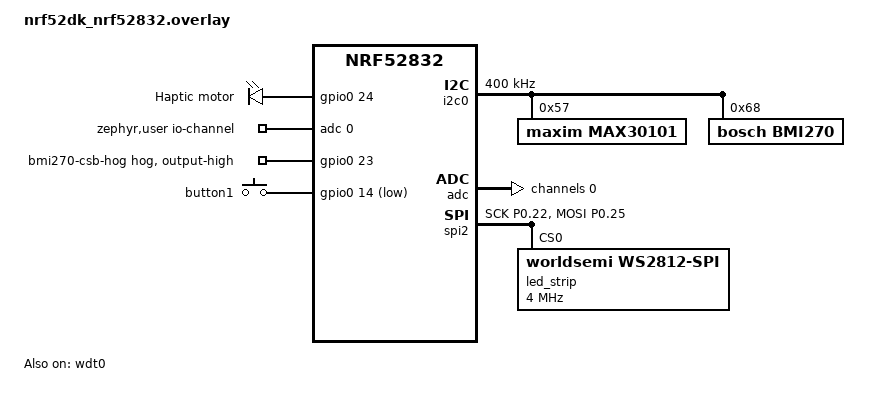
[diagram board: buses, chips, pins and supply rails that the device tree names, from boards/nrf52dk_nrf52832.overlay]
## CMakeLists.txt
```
cmake_minimum_required(VERSION 3.20.0)

find_package(Zephyr REQUIRED HINTS $ENV{ZEPHYR_BASE})
project(smart_hydration_band)

target_include_directories(app PRIVATE
  include
  # Bosch's BMI270 firmware blob, used by src/step_counter.c.
  ${ZEPHYR_BASE}/drivers/sensor/bosch/bmi270
)

target_sources(app PRIVATE
  src/main.c
  src/max30101.c
  src/heart_rate.c
  src/step_counter.c
  src/status_led.c
  src/button.c
  src/haptic.c
  src/band_mode.c
  src/ble_service.c
  src/battery.c
  src/watchdog.c
  src/storage.c
  src/wall_clock.c
  src/data_log.c
  src/spo2.c
)
```

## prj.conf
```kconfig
# Sensors
CONFIG_I2C=y
CONFIG_GPIO=y
CONFIG_SENSOR=y
CONFIG_MAX30101=y
# MAX30101 sensor settings (mode, LEDs, rate) are in the devicetree overlay.
# src/step_counter.c drives the BMI270 directly; see the comment there for why
# Zephyr's driver cannot be used on the nRF52832.
CONFIG_BMI270=n

# Status LED: WS2812 through Zephyr's SPI driver (see the overlay).
CONFIG_LED_STRIP=y

# BLE link to the app: one connection, no pairing. The name must start with
# "umbra" (any case) for the app to find the band.
CONFIG_BT=y
CONFIG_BT_PERIPHERAL=y
CONFIG_BT_DEVICE_NAME="Umbra"
CONFIG_BT_MAX_CONN=1
CONFIG_BT_HRS=y
CONFIG_BT_BAS=y
# Firmware version: the one place it is set. Shown over RTT at start-up and in
# the Device Information Service (Firmware Revision String, 0x2A26). Raise it
# for every build that leaves the bench.
CONFIG_BT_DIS=y
CONFIG_BT_DIS_FW_REV=y
CONFIG_BT_DIS_FW_REV_STR="1.2.0"
# What a phone's Bluetooth settings or a BLE scanner shows for the band, instead
# of Zephyr's placeholders ("Manufacturer", the SoC name).
CONFIG_BT_DIS_MANUF_NAME_STR="Umbra"
CONFIG_BT_DIS_MODEL_NUMBER_STR="Umbra Band"
# No PnP ID: the default reports vendor ID 0, which is not a real vendor.
CONFIG_BT_DIS_PNP=n
# For the current app's JSON link; remove once it uses the services above.
CONFIG_BT_NUS=y
# Ask the phone for a 200-400 ms connection interval (1.25 ms units), and a 4 s
# timeout (10 ms units), since data goes at most once a second. It may refuse.
CONFIG_BT_PERIPHERAL_PREF_MIN_INT=160
CONFIG_BT_PERIPHERAL_PREF_MAX_INT=320
CONFIG_BT_PERIPHERAL_PREF_LATENCY=0
CONFIG_BT_PERIPHERAL_PREF_TIMEOUT=400
# Up to a 247-byte MTU and 251-byte packets, so a log transfer sends 12 records
# per notification instead of one (an iPhone negotiates 185 or more).
CONFIG_BT_L2CAP_TX_MTU=247
CONFIG_BT_BUF_ACL_RX_SIZE=251
CONFIG_BT_BUF_ACL_TX_SIZE=251
CONFIG_BT_CTLR_DATA_LENGTH_MAX=251

# Battery voltage on P0.28, and system off on a flat battery.
CONFIG_ADC=y
CONFIG_POWEROFF=y

# Flash storage for values the app sets (src/storage.c): Zephyr settings on
# NVS, in the settings_storage partition the Partition Manager adds.
CONFIG_FLASH=y
CONFIG_FLASH_MAP=y
CONFIG_NVS=y
CONFIG_SETTINGS=y
# 48 KB (twelve 4 KB sectors) instead of 8 KB: the data log (src/data_log.c)
# keeps 1024 records of 20 bytes (28 with NVS's header, ~29 KB) in the same
# NVS, and NVS needs free sectors to reclaim space. The app area shrinks to
# match (~460 KB left).
CONFIG_PM_PARTITION_SIZE_SETTINGS_STORAGE=0xC000
CONFIG_SETTINGS_NVS_SECTOR_COUNT=12
# Index of the newest entry per ID, so reading a log record does not walk the
# whole partition (4 bytes of RAM each).
CONFIG_NVS_LOOKUP_CACHE=y
CONFIG_NVS_LOOKUP_CACHE_SIZE=1024

# Hardware watchdog (src/watchdog.c) and the reset reason printed at start-up.
CONFIG_WATCHDOG=y
CONFIG_HWINFO=y

# The Bluetooth host runs on the system work queue.
CONFIG_SYSTEM_WORKQUEUE_STACK_SIZE=2048

# Logging over Segger RTT
CONFIG_LOG=y
CONFIG_LOG_DEFAULT_LEVEL=3
CONFIG_LOG_BACKEND_RTT=y
CONFIG_USE_SEGGER_RTT=y
CONFIG_RTT_CONSOLE=y
CONFIG_UART_CONSOLE=n
# 4 KB instead of 1 KB: the boot output (Bluetooth start-up, firmware version,
# reset reason, mode) overflowed 1 KB before the viewer read it, and was lost.
CONFIG_SEGGER_RTT_BUFFER_SIZE_UP=4096
# No ANSI colours: a dropped log line left fragments like "0m [0m" in the output.
CONFIG_LOG_BACKEND_SHOW_COLOR=n
# The board's UART is not wired up here and output goes over RTT.
CONFIG_SERIAL=n

# The BMD-350 module has no 32.768 kHz crystal.
CONFIG_CLOCK_CONTROL_NRF_K32SRC_RC=y
CONFIG_CLOCK_CONTROL_NRF_K32SRC_500PPM=y

# Hardware floating point for the heart-rate autocorrelation (~25k MACs/s).
CONFIG_FPU=y
# Preserve the estimator's float registers across the radio's and other threads' work.
CONFIG_FPU_SHARING=y

CONFIG_MAIN_STACK_SIZE=4096
```

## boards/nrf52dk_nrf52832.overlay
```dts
/*
 * Smart Hydration Band - MAX30101 and BMI270 overlay.
 *
 * The PCB uses a BMD-350-A-R (nRF52832) module. The nRF52 DK board target is
 * used only as a convenient nRF52832 base; I2C0 already defaults to the PCB's
 * SDA P0.26 / SCL P0.27 pins.
 */

#include <zephyr/dt-bindings/adc/adc.h>
#include <zephyr/dt-bindings/gpio/gpio.h>
#include <zephyr/dt-bindings/led/led.h>

/*
 * BMI270 CSB (P0.23) has no pull-up on the PCB and the chip uses it to choose
 * between I2C and SPI. Hold it high from before the application starts.
 */
&gpio0 {
	bmi270-csb-hog {
		gpio-hog;
		gpios = <23 GPIO_ACTIVE_HIGH>;
		output-high;
	};
};

&i2c0 {
	compatible = "nordic,nrf-twim";
	status = "okay";
	/*
	 * Fast mode: both sensors support 400 kHz and the PCB has 4.7k pull-ups.
	 * A quarter of the bus time per transfer, so the TWIM and the high-
	 * frequency clock run for less of each FIFO drain.
	 */
	clock-frequency = <400000>;

	/*
	 * src/max30101.c checks the mode, slots, rate, averaging and pulse width
	 * at build time because the heart-rate timing depends on them.
	 */
	max30101: max30101@57 {
		compatible = "maxim,max30101";
		reg = <0x57>;
		status = "okay";
		/*
		 * Slot 1 red, slot 2 IR. IR carries the wrist pulse and runs all the
		 * time; red is for SpO2 and starts off (current 0), lit only during a
		 * measurement. Green cannot work from the 3.3 V LED supply.
		 */
		acq-mode = "multi-led";
		led-slot = <1 2 0 0>;
		/* [red IR green], 0.2 mA/LSB: red off, IR ~38 mA. */
		led-pa = [00 C0 00];
		/* 100 Hz, no on-chip averaging. */
		smp-sr = <100>;
		smp-ave = <1>;
		/* 411 us pulse = 18-bit samples; the driver default is 69 us / 15-bit. */
		led-pw = <411>;
		/* 62.5 pA/LSB, so double the IR light stays in range. */
		adc-rge = <16384>;
	};

	/* SDO is tied to GND. INT1/INT2 (P0.30/P0.31) are not used: steps are polled. */
	bmi270: bmi270@68 {
		compatible = "bosch,bmi270";
		reg = <0x68>;
		status = "okay";
	};
};

/*
 * Haptic motor: P0.24 drives the gate of low-side switch Q1 through R12. R13
 * holds the gate low until the pin is configured. "gpio-leds" is only a plain
 * output description here; no LED driver is enabled.
 */
/ {
	haptic {
		compatible = "gpio-leds";

		haptic_motor: haptic_motor {
			gpios = <&gpio0 24 GPIO_ACTIVE_HIGH>;
			label = "Haptic motor";
		};
	};
};

/*
 * Battery voltage: V_bat through R10 (800k) and R11 (2M) into P0.28 / AIN4. The
 * long acquisition time suits the divider's high impedance.
 */
/ {
	zephyr,user {
		io-channels = <&adc 0>;
	};
};

&adc {
	#address-cells = <1>;
	#size-cells = <0>;
	status = "okay";

	channel@0 {
		reg = <0>;
		zephyr,gain = "ADC_GAIN_1_6";
		zephyr,reference = "ADC_REF_INTERNAL";
		zephyr,acquisition-time = <ADC_ACQ_TIME(ADC_ACQ_TIME_MICROSECONDS, 40)>;
		zephyr,input-positive = <NRF_SAADC_AIN4>;
		zephyr,resolution = <12>;
		zephyr,oversampling = <4>;
	};
};

/* Push button SW2: P0.14 to GND, no pull-up on the PCB. */
&button1 {
	gpios = <&gpio0 14 (GPIO_PULL_UP | GPIO_ACTIVE_LOW)>;
};

/*
 * WS2812 D4, data on P0.25. SPI is used only to shape the data pulses. The DK's
 * default pins would claim P0.23 (BMI270 CSB) and P0.24 (motor), so these are
 * set here. MOSI is the data line. SCK is on P0.22, unconnected on this PCB: the
 * SPIM stalls without a clock pin, so it needs one even though nothing uses it.
 */
&pinctrl {
	led_spi_default: led_spi_default {
		group1 {
			psels = <NRF_PSEL(SPIM_SCK, 0, 22)>,
				<NRF_PSEL(SPIM_MOSI, 0, 25)>;
		};
	};

	led_spi_sleep: led_spi_sleep {
		group1 {
			psels = <NRF_PSEL(SPIM_SCK, 0, 22)>,
				<NRF_PSEL(SPIM_MOSI, 0, 25)>;
			low-power-enable;
		};
	};
};

&spi2 {
	compatible = "nordic,nrf-spim";
	status = "okay";
	/delete-property/ cs-gpios;
	pinctrl-0 = <&led_spi_default>;
	pinctrl-1 = <&led_spi_sleep>;
	pinctrl-names = "default", "sleep";

	led_strip: ws2812@0 {
		compatible = "worldsemi,ws2812-spi";
		reg = <0>; /* Ignored, but required by SPI bindings. */
		spi-max-frequency = <4000000>;

		chain-length = <1>;
		color-mapping = <LED_COLOR_ID_GREEN LED_COLOR_ID_RED LED_COLOR_ID_BLUE>;
		/* 250 ns per SPI bit; values from Zephyr's nRF52 led_strip sample. */
		spi-one-frame = <0x70>;
		spi-zero-frame = <0x40>;
		reset-delay = <300>;
	};
};

/*
 * The DK board enables SPI1 on pins the wristband uses for other signals.
 * Disable it so it cannot claim them.
 */
&spi1 {
	status = "disabled";
};

/* Hardware watchdog, used by src/watchdog.c. */
&wdt0 {
	status = "okay";
};

/* Not wired up on this PCB, and output goes over RTT. */
&uart0 {
	status = "disabled";
};
```

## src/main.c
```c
#include <zephyr/kernel.h>
#include <zephyr/logging/log.h>
#include <zephyr/sys/poweroff.h>
#include <zephyr/sys/printk.h>

#include "app_config.h"
#include "band_mode.h"
#include "battery.h"
#include "ble_service.h"
#include "button.h"
#include "data_log.h"
#include "haptic.h"
#include "heart_rate.h"
#include "max30101.h"
#include "spo2.h"
#include "status_led.h"
#include "step_counter.h"
#include "storage.h"
#include "wall_clock.h"
#include "watchdog.h"

LOG_MODULE_REGISTER(main, LOG_LEVEL_INF);

BUILD_ASSERT(HR_SAMPLE_RATE_HZ == MAX30101_SAMPLE_RATE_HZ,
	     "Heart-rate timing must match the sensor sample rate");

/*
 * The MAX30101 sample clock is its own oscillator and can be several percent
 * off 100 Hz (about +5% on the first board), which would scale every bpm by
 * the same error. Count samples against the nRF clock (calibrated LF clock)
 * and pass the measured rate to the estimator.
 */
#define RATE_PERIOD_MS 10000
#define RATE_MIN_HZ 80.0f
#define RATE_MAX_HZ 120.0f

/* Set once, in prj.conf, and also reported over BLE by the Device Information Service. */
#define FIRMWARE_VERSION CONFIG_BT_DIS_FW_REV_STR

/* Heart-rate status is printed once a second. */
#define STATUS_PERIOD_MS 1000
#define BATTERY_PERIOD_MS 10000
/* While off the skin, repeat the status only this often. */
#define NO_CONTACT_REPEAT_MS 10000

/* Quality thresholds for the status wording (the estimator rejects below 50). */
#define QUALITY_GOOD 80
#define QUALITY_FAIR 65

/*
 * Skin contact from the raw IR level: ~160000-195000 on wrist and finger,
 * ~1500-3000 off the skin (see APP_CONTACT_IR_MIN). Contact must hold for 1 s before
 * measuring (lets the placement transient pass); 0.1 s below the threshold
 * ends it. Either change restarts the estimator, because the step in the
 * signal would otherwise sit in its 8 s window and can look periodic.
 */
/*
 * No sample for this long while reads succeed means the MAX30101 stopped
 * sampling (it makes one every 10 ms), so its settings are written back.
 */
#define SENSOR_STALL_MS 1000

#define CONTACT_ON_SAMPLES 100
#define CONTACT_OFF_SAMPLES 10

struct contact {
	bool on;
	int count;
};

/* Returns true when the contact state changes. */
static bool contact_update(struct contact *c, int32_t ir)
{
	bool above = ir >= APP_CONTACT_IR_MIN;

	if (above == c->on) {
		c->count = 0;
		return false;
	}

	if (++c->count < (above ? CONTACT_ON_SAMPLES : CONTACT_OFF_SAMPLES)) {
		return false;
	}

	c->on = above;
	c->count = 0;
	return true;
}

/* What the status line shows, refreshed from the estimator once a second. */
struct hr_status {
	/* False if the MAX30101 did not start: no heart rate, the rest runs. */
	bool sensor_ok;
	/* Consecutive failed FIFO reads; heart rate is paused while non-zero. */
	uint32_t read_errors;
	/* When the FIFO last gave a sample, to notice a sensor that stopped. */
	int64_t last_sample_ms;
	bool stall_reported;
	int64_t contact_since_ms;
	bool have_estimate;
	struct hr_estimate hr;
	int64_t last_no_contact_ms;
	bool steps_ok;
	uint32_t steps;
	uint32_t printed_steps;
	bool battery_ok;
	bool have_battery;
	/* Consecutive readings below APP_BATTERY_OFF_MV. */
	int low_battery_readings;
	uint8_t battery_percent;
};

/*
 * Static: logging is deferred, so these must outlive the printk() call. Only
 * main() writes them.
 */
static char rate_text[12];
static char steps_text[12];
static char status_text[48];

static const char *quality_word(int quality)
{
	if (quality >= QUALITY_GOOD) {
		return "good";
	}
	if (quality >= QUALITY_FAIR) {
		return "fair";
	}
	return "weak";
}

static const char *mode_led_name(enum band_mode mode)
{
	return mode == BAND_MODE_NIGHT ? "green" : "white";
}

static void handle_button_press(uint32_t press)
{
	unsigned int secs = (unsigned int)(k_uptime_get() / 1000);
	int led_ret = band_mode_toggle();
	enum band_mode mode = band_mode_get();
	uint32_t interval = band_mode_interval_s();

	printk("  %02u:%02u   button press %u: %s Mode, LED %s%s, buzz, next reminder in %u:%02u\n",
	       secs / 60, secs % 60, press, band_mode_name(mode), mode_led_name(mode),
	       led_ret == 0 ? "" : " FAILED", interval / 60, interval % 60);
}

/* One line per thing band_mode_process() did. */
static void print_mode_events(uint32_t events)
{
	unsigned int secs = (unsigned int)(k_uptime_get() / 1000);
	enum band_mode mode = band_mode_get();
	uint32_t next_s = band_mode_next_reminder_s();

	if (events & BAND_EVENT_MODE_FROM_APP) {
		printk("  %02u:%02u   app: %s Mode, LED %s, buzz\n", secs / 60, secs % 60,
		       band_mode_name(mode), mode_led_name(mode));
	}
	if (events & BAND_EVENT_INTERVALS) {
		struct band_intervals iv;

		band_mode_get_intervals(&iv);
		printk("  %02u:%02u   app: intervals Daily %u min, Night %u min%s\n", secs / 60,
		       secs % 60, iv.daily_min, iv.night_min,
		       (events & BAND_EVENT_SAVE_FAILED) ? ", NOT SAVED to flash" : ", saved");
	}
	if (events & BAND_EVENT_QUIET_HOURS) {
		struct band_quiet_hours q;

		band_mode_get_quiet_hours(&q);
		printk("  %02u:%02u   app: quiet hours %02u:%02u-%02u:%02u%s%s\n", secs / 60,
		       secs % 60, q.start_min / 60, q.start_min % 60, q.end_min / 60,
		       q.end_min % 60, q.start_min == q.end_min ? " (off)" : "",
		       (events & BAND_EVENT_SAVE_FAILED) ? ", NOT SAVED to flash" : ", saved");
	}
	if (events & BAND_EVENT_REMINDER) {
		printk("  %02u:%02u   reminder: double tap (%s Mode)\n", secs / 60, secs % 60,
		       band_mode_name(mode));
	}
	if (events & BAND_EVENT_QUIET_SKIPPED) {
		printk("  %02u:%02u   reminder skipped: quiet hours (Daily Mode)\n", secs / 60,
		       secs % 60);
	}

	printk("  %02u:%02u   next reminder in %u:%02u\n", secs / 60, secs % 60, next_s / 60,
	       next_s % 60);
}

/*
 * Switch the band off on a flat battery, with everything that would keep
 * drawing current quiet first. A button press wakes it (a fresh start in Daily
 * Mode); if the battery is still flat it switches off again a minute later.
 * Does not return.
 */
static void power_off_low_battery(int32_t millivolts)
{
	unsigned int secs = (unsigned int)(k_uptime_get() / 1000);

	printk("  %02u:%02u   battery %d mV: switching off, charge it then press the button\n",
	       secs / 60, secs % 60, millivolts);

	/* Keep the steps and heart rate of the period in progress. */
	data_log_flush();

	haptic_stop();
	(void)status_led_set(STATUS_LED_OFF);
	(void)max30101_shutdown();
	(void)step_counter_shutdown();
	if (button_enable_wake() < 0) {
		printk("  button wake unavailable: use the power switch to restart\n");
	}

	sys_poweroff();
}

static void check_low_battery(struct hr_status *st, int32_t millivolts)
{
	if (millivolts < APP_BATTERY_VALID_MV) {
		/* Not a battery that could still run the band: a measurement fault. */
		st->low_battery_readings = 0;
		return;
	}

	if (millivolts >= APP_BATTERY_OFF_MV) {
		st->low_battery_readings = 0;
		return;
	}

	if (++st->low_battery_readings >= APP_BATTERY_OFF_READINGS) {
		power_off_low_battery(millivolts);
	}
}

static void update_battery(struct hr_status *st)
{
	unsigned int secs = (unsigned int)(k_uptime_get() / 1000);
	uint8_t percent;
	int32_t millivolts;
	int ret;

	if (!st->battery_ok) {
		return;
	}

	ret = battery_read(&percent, &millivolts);
	if (ret < 0) {
		printk("  %02u:%02u   battery read FAILED (%d)\n", secs / 60, secs % 60, ret);
		return;
	}

	printk("  %02u:%02u   battery %u%% (%d mV)\n", secs / 60, secs % 60, percent, millivolts);

	st->have_battery = true;
	st->battery_percent = percent;

	check_low_battery(st, millivolts);
}

/*
 * Send the reading the status line just showed, and add it to the flash log.
 * A reading needs skin contact.
 */
static void publish_telemetry(const struct contact *contact, const struct hr_status *st)
{
	struct spo2_result res;
	uint8_t spo2 = 0;

	/* A spot check stays current until the next one is due, plus a margin. */
	spo2_get_result(&res);
	if (res.uptime_ms != 0 && k_uptime_get() - res.uptime_ms <=
					  (int64_t)(APP_SPO2_INTERVAL_S + 5 * 60) * 1000) {
		spo2 = res.percent;
	}

	data_log_add_second(contact->on && st->have_estimate ? st->hr.bpm : 0, st->steps_ok,
			    st->steps, band_mode_get() == BAND_MODE_NIGHT);

	struct ble_telemetry telemetry = {
		.heart_rate = contact->on && st->have_estimate ? st->hr.bpm : 0,
		.steps_valid = st->steps_ok,
		.steps = st->steps,
		.night_mode = band_mode_get() == BAND_MODE_NIGHT,
		.battery_valid = st->have_battery,
		.battery_percent = st->battery_percent,
		.spo2 = spo2,
	};

	ble_service_publish(&telemetry);
}

static void print_header(void)
{
	printk("\n"
	       "Smart Hydration Band, firmware " FIRMWARE_VERSION "\n"
	       /* Shows at a glance whether the board runs the build just made. */
	       "built " __DATE__ " " __TIME__ ", SpO2 method: RF + pulse check\n"
	       "\n"
	       "  time    heart rate    steps   status\n"
	       "  -----   ----------   ------   ----------------------------\n");
}

/* Heart-rate columns for the current state. */
static void format_rate(const struct contact *contact, const struct hr_status *st, int64_t now)
{
	const struct hr_estimate *hr = &st->hr;

	snprintk(rate_text, sizeof(rate_text), "--");

	if (!st->sensor_ok) {
		snprintk(status_text, sizeof(status_text), "heart-rate sensor unavailable");
	} else if (st->read_errors != 0) {
		snprintk(status_text, sizeof(status_text), "heart-rate sensor not responding");
	} else if (!contact->on) {
		snprintk(status_text, sizeof(status_text), "no skin contact");
	} else if (!st->have_estimate) {
		int waited = (int)((now - st->contact_since_ms) / 1000);
		int left = HR_FIRST_ESTIMATE_S - waited;

		snprintk(status_text, sizeof(status_text), "measuring, ready in %d s",
			 left > 1 ? left : 1);
	} else if (hr->bpm == 0 && hr->settling) {
		snprintk(status_text, sizeof(status_text), "settling, keep still (%d)",
			 hr->quality);
	} else if (hr->bpm == 0) {
		snprintk(status_text, sizeof(status_text), "no clear pulse, keep still (%d)",
			 hr->quality);
	} else {
		snprintk(rate_text, sizeof(rate_text), "%3d bpm", hr->bpm);
		if (hr->held) {
			snprintk(status_text, sizeof(status_text),
				 "signal unsure (%d), holding last value", hr->quality);
		} else {
			snprintk(status_text, sizeof(status_text), "signal %s (%d)",
				 quality_word(hr->quality), hr->quality);
		}
	}
}

/* One line: "  mm:ss   <rate>   <steps>   <status>". */
static void print_status(const struct contact *contact, struct hr_status *st)
{
	int64_t now = k_uptime_get();
	unsigned int secs = (unsigned int)(now / 1000);
	unsigned int min = secs / 60;
	unsigned int sec = secs % 60;

	if (st->steps_ok) {
		uint32_t steps;

		if (step_counter_read(&steps) == 0) {
			st->steps = steps;
		} else {
			LOG_WRN("BMI270 step read failed");
		}
	}

	if (!contact->on) {
		/*
		 * Off the skin, report once on removal, then only when the step
		 * count changes or every NO_CONTACT_REPEAT_MS.
		 */
		if (st->last_no_contact_ms != 0 && st->steps == st->printed_steps &&
		    now - st->last_no_contact_ms < NO_CONTACT_REPEAT_MS) {
			return;
		}
		st->last_no_contact_ms = now;
	} else {
		st->last_no_contact_ms = 0;
	}

	format_rate(contact, st, now);
	if (st->steps_ok) {
		snprintk(steps_text, sizeof(steps_text), "%u", st->steps);
	} else {
		snprintk(steps_text, sizeof(steps_text), "--");
	}
	st->printed_steps = st->steps;

	printk("  %02u:%02u   %-10s   %6s   %s\n", min, sec, rate_text, steps_text, status_text);
}

struct rate_meter {
	int64_t start_ms;
	uint32_t samples;
	float hz;
};

static void rate_meter_restart(struct rate_meter *m)
{
	m->start_ms = k_uptime_get();
	m->samples = 0;
}

static void rate_meter_update(struct rate_meter *m, int count)
{
	int64_t elapsed = k_uptime_get() - m->start_ms;

	m->samples += count;
	if (elapsed < RATE_PERIOD_MS) {
		return;
	}

	float hz = (float)m->samples * 1000.0f / (float)elapsed;

	if (hz > RATE_MIN_HZ && hz < RATE_MAX_HZ) {
		/* Smooth so one late poll does not move the rate. */
		m->hz = m->hz == 0.0f ? hz : 0.7f * m->hz + 0.3f * hz;
		heart_rate_set_sample_rate(m->hz);
	} else {
		LOG_WRN("Implausible MAX30101 sample rate %d Hz", (int)hz);
	}

	rate_meter_restart(m);
}

/*
 * Drain the MAX30101 FIFO and feed the estimator. A failed read only pauses
 * heart rate: it must never keep the main loop from the button and reminders.
 */
static void poll_heart_rate(struct max30101_sample *samples, int max, struct rate_meter *rate,
			    struct contact *contact, struct hr_status *st)
{
	bool lost = false;
	int count = max30101_read_fifo(samples, max, &lost);

	if (count < 0) {
		/* Logged once per failure run, since the loop retries every poll. */
		if (st->read_errors == 0) {
			LOG_WRN("MAX30101 read failed (%d), heart rate paused", count);
		}
		st->read_errors++;
		spo2_sensor_gap();

		/*
		 * No samples, so no reading: drop it rather than send a stale one.
		 * Contact must be found again, which also restarts the estimator.
		 */
		contact->on = false;
		contact->count = 0;
		st->have_estimate = false;
		return;
	}

	if (st->read_errors != 0) {
		LOG_INF("MAX30101 reads recovered after %u failures", st->read_errors);
		st->read_errors = 0;
		st->last_sample_ms = k_uptime_get();
		rate_meter_restart(rate);
		/* Samples from before the gap are not evenly spaced with the rest. */
		return;
	}

	if (count > 0) {
		st->last_sample_ms = k_uptime_get();
		st->stall_reported = false;
	} else if (k_uptime_get() - st->last_sample_ms > SENSOR_STALL_MS) {
		/*
		 * Answering but not sampling: the sensor reset itself (a supply dip
		 * clears its settings). Write them back, retrying each period.
		 */
		int ret = max30101_restore();

		if (!st->stall_reported) {
			st->stall_reported = true;
			LOG_WRN("MAX30101 stopped sampling, settings restored (%d)", ret);
		}
		spo2_sensor_gap();
		st->last_sample_ms = k_uptime_get();
		contact->on = false;
		contact->count = 0;
		st->have_estimate = false;
		rate_meter_restart(rate);
		return;
	}

	/* The estimator assumes evenly spaced samples, so a gap invalidates it. */
	if (lost) {
		LOG_WRN("MAX30101 FIFO overflow, samples lost");
		spo2_sensor_gap();
		heart_rate_init();
		st->have_estimate = false;
		st->contact_since_ms = k_uptime_get();
		rate_meter_restart(rate);
	} else {
		rate_meter_update(rate, count);
	}

	for (int i = 0; i < count; i++) {
		struct hr_estimate hr;

		if (contact_update(contact, samples[i].ir)) {
			heart_rate_init();
			st->have_estimate = false;
			st->contact_since_ms = k_uptime_get();
		}

		if (contact->on && heart_rate_process(samples[i].ir, &hr)) {
			st->hr = hr;
			st->have_estimate = true;
		}

		if (spo2_measuring()) {
			spo2_add_sample(&samples[i]);
		}
	}
}

/*
 * Run the SpO2 schedule for this loop pass and print what happened. The
 * acceleration is read only while a measurement is running.
 */
static void run_spo2(const struct contact *contact, const struct hr_status *st)
{
	struct spo2_inputs in = {
		.contact = st->sensor_ok && st->read_errors == 0 && contact->on,
		/* A held reading still means a pulse was found moments ago (loose fit). */
		.pulse = st->have_estimate && st->hr.bpm > 0,
		.pulse_quality = (st->have_estimate && !st->hr.settling) ? st->hr.quality : 0,
	};
	unsigned int secs = (unsigned int)(k_uptime_get() / 1000);
	struct spo2_result res;
	uint32_t events;

	if (spo2_measuring() && st->steps_ok) {
		in.accel_ok = step_counter_read_accel(in.accel) == 0;
	}

	events = spo2_process(&in);
	if (events == 0) {
		return;
	}

	spo2_get_result(&res);
	if (events & SPO2_EVENT_STARTED) {
		printk("  %02u:%02u   SpO2: starting\n", secs / 60, secs % 60);
	}
	if (events & SPO2_EVENT_DONE) {
		if (res.status == SPO2_STATUS_OK) {
			data_log_note_spo2(res.percent, res.quality);
			printk("  %02u:%02u   SpO2 %u%% (quality %u, R %u.%03u)\n", secs / 60,
			       secs % 60, res.percent, res.quality, res.ratio_milli / 1000,
			       res.ratio_milli % 1000);
		} else {
			printk("  %02u:%02u   SpO2 not measured: %s (R %u.%03u), retry in %d s\n",
			       secs / 60, secs % 60, spo2_status_name(res.status),
			       res.ratio_milli / 1000, res.ratio_milli % 1000, APP_SPO2_RETRY_S);
		}
	}
}

int main(void)
{
	static struct max30101_sample samples[MAX30101_FIFO_DEPTH];
	struct rate_meter rate = {.hz = 0.0f};
	struct contact contact = {.on = false};
	struct hr_status status = {0};
	int led_ret;
	bool button_ok;
	uint32_t button_presses = 0;
	int64_t next_status_ms = STATUS_PERIOD_MS;
	int64_t next_battery_ms = 0;
	int wdt_ret;
	bool mode_restored;
	bool clock_known;
	int ret;

	/* First, so a hang anywhere from here on resets the band. */
	wdt_ret = watchdog_init();

	/*
	 * Each of these is optional: the rest of the band runs if one fails.
	 * Above all, the reminders must keep firing without any sensor.
	 */
	ret = max30101_init();
	status.sensor_ok = ret == 0;
	if (ret < 0) {
		LOG_ERR("MAX30101 unavailable, no heart rate (%d)", ret);
	}
	spo2_init(status.sensor_ok);

	ret = haptic_init();
	if (ret < 0) {
		LOG_ERR("Haptic motor unavailable (%d)", ret);
	}

	/* The time of day, kept through a watchdog reset; needed for quiet hours. */
	clock_known = wall_clock_init(watchdog_reset_kept_ram());

	/* Before band_mode_init(), which loads the app's intervals from it. */
	ret = storage_init();
	if (ret < 0) {
		LOG_ERR("Flash storage unavailable, using defaults (%d)", ret);
	}

	/* Show the mode as soon as possible; resume it after a watchdog reset. */
	led_ret = band_mode_init(watchdog_reset_kept_ram(), &mode_restored);

	/* Steps and heart rate in flash, for the app to fetch when it connects. */
	ret = data_log_init();
	if (ret < 0) {
		LOG_ERR("Data log unavailable, nothing is stored while disconnected (%d)", ret);
	}

	ret = button_init();
	button_ok = ret == 0;
	if (ret < 0) {
		LOG_ERR("Button unavailable (%d)", ret);
	}

	/* Heart rate still runs if the BMI270 fails; steps then show "--". */
	ret = step_counter_init();
	status.steps_ok = ret == 0;
	if (ret < 0) {
		LOG_ERR("Step counter unavailable (%d)", ret);
	}

	ret = battery_init();
	status.battery_ok = ret == 0;
	if (ret < 0) {
		LOG_ERR("Battery measurement unavailable (%d)", ret);
	}

	ret = ble_service_init();
	if (ret < 0) {
		LOG_ERR("Bluetooth unavailable (%d)", ret);
	}

	/* Loading the BMI270 outlasts the FIFO, so start from an empty one. */
	if (status.sensor_ok) {
		bool ignored;

		(void)max30101_read_fifo(samples, ARRAY_SIZE(samples), &ignored);
	}

	heart_rate_init();
	print_header();

	printk("  last reset: %s\n", watchdog_reset_cause());
	if (APP_SPO2_BENCH_MODE) {
		printk("  SpO2 BENCH MODE: measuring back to back, not for delivery\n");
	} else {
		/* So a quiet first two minutes is not taken for a fault. */
		printk("  SpO2: first check at %02d:%02d once worn, then every %d min\n",
		       APP_SPO2_FIRST_S / 60, APP_SPO2_FIRST_S % 60, APP_SPO2_INTERVAL_S / 60);
	}
	printk("  time of day: %s\n", clock_known ? "kept through the reset"
						 : "not set, no quiet hours until the app sets it");
	if (wdt_ret < 0) {
		LOG_ERR("Watchdog unavailable, a hang will not reset the band (%d)", wdt_ret);
	}

	{
		uint32_t next_s = band_mode_next_reminder_s();
		enum band_mode mode = band_mode_get();

		printk("  %s Mode%s, LED %s%s, next reminder in %u:%02u\n", band_mode_name(mode),
		       mode_restored ? " (resumed after reset)" : "", mode_led_name(mode),
		       led_ret == 0 ? "" : " FAILED", next_s / 60, next_s % 60);
	}
	rate_meter_restart(&rate);
	status.last_sample_ms = k_uptime_get();

	for (;;) {
		if (status.sensor_ok) {
			poll_heart_rate(samples, ARRAY_SIZE(samples), &rate, &contact, &status);
		}

		run_spo2(&contact, &status);

		if (button_ok && button_pressed()) {
			button_presses++;
			handle_button_press(button_presses);
		}

		uint32_t events = band_mode_process();

		if (events != 0) {
			print_mode_events(events);
		}

		if (k_uptime_get() >= next_battery_ms) {
			next_battery_ms = k_uptime_get() + BATTERY_PERIOD_MS;
			update_battery(&status);
		}

		/* Fixed 1 s cadence, independent of FIFO bursts and the sensor clock. */
		if (k_uptime_get() >= next_status_ms) {
			next_status_ms += STATUS_PERIOD_MS;
			print_status(&contact, &status);
			publish_telemetry(&contact, &status);
		}

		wall_clock_keep();
		watchdog_feed();
		k_sleep(K_MSEC(APP_POLL_INTERVAL_MS));
	}

	return 0;
}
```

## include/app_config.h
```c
#ifndef APP_CONFIG_H
#define APP_CONFIG_H

/*
 * Default water reminder intervals in minutes: Daily 90, Night 35. The app can
 * change them (15-240 min); the values it sets are kept in flash and replace
 * these until it sets 0, which restores the default.
 */
#define APP_DAILY_REMINDER_MIN 90
#define APP_NIGHT_REMINDER_MIN 35

/*
 * Default quiet hours, local time in minutes after midnight: no Daily Mode
 * reminders from 23:00 to 07:00. Night Mode reminders always fire, since a
 * night out runs through these hours. Needs the time from the app; until the
 * app has set it after power-on, there are no quiet hours. The app can change
 * them; start equal to end turns them off.
 */
#define APP_QUIET_START_MIN (23 * 60)
#define APP_QUIET_END_MIN   (7 * 60)

/* Reminder: two pulses with a gap. Button press: one buzz. All in ms. */
#define APP_HAPTIC_TAP_MS     200
#define APP_HAPTIC_TAP_GAP_MS 200
#define APP_HAPTIC_BUZZ_MS    300

/*
 * How often main.c drains the MAX30101 FIFO. The FIFO holds 32 samples
 * (320 ms at 100 Hz), so this must stay well below that or samples are lost.
 */
#define APP_POLL_INTERVAL_MS 40

/* Sample rate seen by the heart-rate detector; main.c checks it against the sensor. */
#define HR_SAMPLE_RATE_HZ 100

/*
 * Raw IR level (ADC counts) above which the sensor is taken to be on the skin.
 * Measured ~160000-195000 on skin and ~1500-3000 off it at IR led-pa 0x60 with
 * adc-rge 8192. IR 0xC0 with adc-rge 16384 should read about the same (double
 * the light, half the gain). Scale it if the ratio of the two changes.
 */
#define APP_CONTACT_IR_MIN 50000

/*
 * Low battery: below APP_BATTERY_OFF_MV for APP_BATTERY_OFF_READINGS readings in
 * a row (10 s apart, so a motor dip never counts) the band switches itself off
 * to protect the LiPo and avoid brown-out resets. 3.3 V is under 5% left.
 * Readings below APP_BATTERY_VALID_MV are taken as a measurement fault, not a
 * flat battery, so a broken divider cannot keep switching the band off.
 * Check the measured voltage against a multimeter before relying on this.
 */
#define APP_BATTERY_OFF_MV       3300
#define APP_BATTERY_OFF_READINGS 6
#define APP_BATTERY_VALID_MV     2500

/*
 * SpO2 spot checks (src/spo2.c), in seconds: the first about 2 min after
 * power-up, then every 30 min while worn (the client's sampling plan), and
 * 5 min after an attempt that failed (movement, weak signal, off the wrist).
 */
#define APP_SPO2_FIRST_S    (2 * 60)
#define APP_SPO2_INTERVAL_S (30 * 60)
#define APP_SPO2_RETRY_S    (5 * 60)
/* A scheduled check that finds the band off the wrist, or no pulse yet, looks again after this. */
#define APP_SPO2_WAIT_S     60

/*
 * SpO2 bench mode, for testing and calibration only: measure as soon as the
 * heart rate locks, then back to back with a 10 s gap, so data comes quickly.
 * The red LED is lit most of the time, so battery life drops. The build prints a
 * warning and the band prints "SpO2 BENCH MODE" at start-up while it is on.
 * Set it to 0 for the delivered firmware.
 */
#define APP_SPO2_BENCH_MODE 0

#if APP_SPO2_BENCH_MODE
#undef APP_SPO2_FIRST_S
#undef APP_SPO2_INTERVAL_S
#undef APP_SPO2_RETRY_S
#undef APP_SPO2_WAIT_S
#define APP_SPO2_FIRST_S    0
#define APP_SPO2_INTERVAL_S 10
#define APP_SPO2_RETRY_S    10
#define APP_SPO2_WAIT_S     2
#endif

/*
 * SpO2 = A * R^2 + B * R + C, R being the ratio of ratios.
 *
 * INTERIM CALIBRATION, NOT CHECKED AGAINST AN OXIMETER: SpO2 = 102.8 - 15 R.
 * No reference oximeter was available, so the line is set so that the R this
 * band reads at rest on a healthy wearer (0.32-0.52 across sessions, depending
 * on how the board sits) shows the normal 95-98%: 99% at R 0.25, 98% at 0.32,
 * 96% at 0.43, 95% at 0.52, 92% at 0.70, 88% at 1.0.
 *
 * Its slope is flatter than a real calibration (Maxim's is about 33% per unit
 * of R here), so a genuine fall in oxygen would show as a smaller fall. Treat
 * readings as a wellness estimate. Replace it with a fit against a fingertip
 * oximeter, in the enclosure, before relying on low readings; see "SpO2
 * calibration" in the README.
 *
 * Published curves tried first, both of which showed 100% at rest on this
 * band, since it reads R 0.32-0.45 in a good fit:
 *   Maxim MAX30101 (MAX32664 default): 1.5958422 R^2 - 34.659664 R + 112.68987
 *   Maxim RD117 (MAX30102), as in RF:  -45.060 R^2 + 30.354 R + 94.845
 */
#define APP_SPO2_CAL_A 0.0f
#define APP_SPO2_CAL_B (-15.0f)
#define APP_SPO2_CAL_C 102.8f

/* Status LED level per color, 0-255. Current and brightness rise with it. */
#define APP_LED_LEVEL 40

#endif /* APP_CONFIG_H */
```

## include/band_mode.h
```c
#ifndef BAND_MODE_H
#define BAND_MODE_H

#include <stdbool.h>
#include <stdint.h>

#include <zephyr/sys/util.h>

/*
 * The band's two modes and their water reminders. Daily is the power-up mode
 * (white LED); a button press starts a Night session (green LED) and another
 * ends it. The band works this way with no app or pairing. The app can also
 * set the mode, the two reminder intervals and the quiet hours; the intervals
 * and quiet hours are kept in flash.
 */
enum band_mode {
	BAND_MODE_DAILY,
	BAND_MODE_NIGHT,
};

/* Reminder intervals in minutes. */
struct band_intervals {
	uint16_t daily_min;
	uint16_t night_min;
};

/*
 * Quiet hours, local minutes after midnight (0-1439). Daily Mode reminders that
 * fall from start up to end are skipped; the window may cross midnight. Start
 * equal to end means no quiet hours.
 */
struct band_quiet_hours {
	uint16_t start_min;
	uint16_t end_min;
};

#define BAND_MINUTES_PER_DAY 1440

/*
 * Accepted interval range in minutes. The app offers 20, 30, 45 and 60. With no
 * pairing, anyone nearby can write the intervals, and they are kept in flash, so
 * the floor stops a stray or hostile write from leaving the band buzzing every
 * minute through power cycles. A stored value below it reads as the default.
 */
#define BAND_INTERVAL_MIN 15
#define BAND_INTERVAL_MAX 240

/* What band_mode_process() did, for the caller to report. */
#define BAND_EVENT_REMINDER      BIT(0) /* Double tap fired. */
#define BAND_EVENT_MODE_FROM_APP BIT(1) /* Mode changed by an app request. */
#define BAND_EVENT_INTERVALS     BIT(2) /* Intervals changed by an app request. */
#define BAND_EVENT_SAVE_FAILED   BIT(3) /* A new setting could not be stored in flash. */
#define BAND_EVENT_QUIET_SKIPPED BIT(4) /* A reminder fell in quiet hours: no buzz. */
#define BAND_EVENT_QUIET_HOURS   BIT(5) /* Quiet hours changed by an app request. */

/*
 * Load the stored intervals, set the starting mode and the LED. With
 * try_restore (only after a reset that kept RAM), the mode and reminder
 * schedule from before the reset are resumed if a valid copy was kept;
 * *restored says whether that happened. Otherwise the band starts in Daily
 * Mode with a full interval. Call after storage_init().
 *
 * Returns 0 on success, or the negative errno from the LED update.
 */
int band_mode_init(bool try_restore, bool *restored);

/*
 * Switch mode for a button press: set the LED, buzz and restart the reminder
 * interval. Main loop only.
 *
 * Returns 0 on success, or the negative errno from the LED update.
 */
int band_mode_toggle(void);

/*
 * Ask for a mode from the app. Safe from any thread; band_mode_process()
 * applies it like a button press (LED, buzz, interval restart). Asking for the
 * current mode does nothing.
 */
void band_mode_request(enum band_mode mode);

/*
 * Ask for new intervals from the app. Safe from any thread. A field of 0 means
 * the default (Daily 90, Night 35 minutes). band_mode_process() applies and
 * stores them; if the current mode's interval changed, its wait restarts.
 *
 * Returns 0, or -EINVAL if a value is outside BAND_INTERVAL_MIN..MAX.
 */
int band_mode_request_intervals(const struct band_intervals *intervals);

/* The intervals in effect, or the ones just requested. Safe from any thread. */
void band_mode_get_intervals(struct band_intervals *intervals);

/*
 * Ask for new quiet hours from the app. Safe from any thread;
 * band_mode_process() applies and stores them.
 *
 * Returns 0, or -EINVAL if a value is 1440 or more.
 */
int band_mode_request_quiet_hours(const struct band_quiet_hours *quiet);

/* The quiet hours in effect, or the ones just requested. Safe from any thread. */
void band_mode_get_quiet_hours(struct band_quiet_hours *quiet);

enum band_mode band_mode_get(void);

const char *band_mode_name(enum band_mode mode);

/* Current mode's reminder interval in seconds. */
uint32_t band_mode_interval_s(void);

/* Seconds until the next reminder, rounded up. */
uint32_t band_mode_next_reminder_s(void);

/*
 * Call regularly from the main loop. Applies app requests and fires the
 * double tap when a reminder is due.
 *
 * Returns a mask of BAND_EVENT_* flags, 0 if nothing happened.
 */
uint32_t band_mode_process(void);

#endif /* BAND_MODE_H */
```

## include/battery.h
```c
#ifndef BATTERY_H
#define BATTERY_H

#include <stdint.h>

/*
 * Prepare the battery measurement.
 *
 * Returns 0 on success, negative errno on failure.
 */
int battery_init(void);

/*
 * Measure the battery. The percentage comes from a typical LiPo discharge curve,
 * so it is approximate.
 *
 * Returns 0 on success, negative errno on failure.
 */
int battery_read(uint8_t *percent, int32_t *millivolts);

#endif /* BATTERY_H */
```

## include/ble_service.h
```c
#ifndef BLE_SERVICE_H
#define BLE_SERVICE_H

#include <stdbool.h>
#include <stdint.h>

/*
 * BLE link to the phone app. No pairing: the app finds the band by its advertised
 * name. The band works the same with or without a connection. The services and
 * their formats are documented in the README.
 */

struct ble_telemetry {
	/* Heart rate in bpm, or 0 when there is no reading. */
	int heart_rate;
	bool steps_valid;
	uint32_t steps;
	/* True during a Night session. */
	bool night_mode;
	bool battery_valid;
	uint8_t battery_percent;
	/* Latest SpO2 in percent while it is recent, 0 when there is none. */
	uint8_t spo2;
};

/*
 * Start Bluetooth and advertising.
 *
 * Returns 0 on success, negative errno on failure.
 */
int ble_service_init(void);

/*
 * Update the values and notify a connected app of what changed. Returns at once:
 * the sending happens on the BLE thread, because it can block on the radio and
 * the caller must keep draining the sensor FIFO. Does nothing if
 * ble_service_init() failed.
 */
void ble_service_publish(const struct ble_telemetry *telemetry);

#endif /* BLE_SERVICE_H */
```

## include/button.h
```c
#ifndef BUTTON_H
#define BUTTON_H

#include <stdbool.h>

/*
 * Configure the push button.
 *
 * Returns 0 on success, negative errno on failure.
 */
int button_init(void);

/*
 * Poll the button; call this regularly (every 20-50 ms). The input must read
 * the same twice in a row to count, which filters contact bounce.
 *
 * Returns true once per press, when the button goes down.
 */
bool button_pressed(void);

/*
 * Make a press wake the band from system off. Call just before powering off.
 *
 * Returns 0 on success, negative errno on failure.
 */
int button_enable_wake(void);

#endif /* BUTTON_H */
```

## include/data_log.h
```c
#ifndef DATA_LOG_H
#define DATA_LOG_H

#include <stdbool.h>
#include <stdint.h>

#include <zephyr/sys/util.h>

/*
 * Steps and heart rate kept in flash so nothing is lost while no app is
 * connected. One record per period (5 min in Daily Mode, 1 min in Night Mode,
 * and a short one when the mode changes), in a ring of DATA_LOG_CAPACITY
 * records: the oldest is overwritten when it is full. Records are numbered by
 * a sequence that only grows, so the app asks for everything after the last
 * one it has (see ble_service.c and the README).
 */

#define DATA_LOG_CAPACITY    1024
#define DATA_LOG_DAILY_S     300
#define DATA_LOG_NIGHT_S     60

/* Bytes per record on the wire and in flash, all little endian:
 *  0  uint32 seq         record number, from 1, never reused unless erased
 *  4  uint32 time        UTC seconds at the start of the period if FLAG_UTC,
 *                        else seconds since that boot started
 *  8  uint16 steps       steps counted in the period (if FLAG_STEPS)
 * 10  uint16 boot        boot number the record was made in
 * 12  uint8  hr_avg      mean heart rate in bpm over the readings, 0 = none
 * 13  uint8  hr_max      highest heart rate in bpm, 0 = none
 * 14  uint8  seconds/10  length of the period in tens of seconds
 * 15  uint8  flags       DATA_LOG_FLAG_*
 * 16  uint8  spo2        SpO2 % measured in the period, 0 = none
 * 17  uint8  spo2_qual   quality of that SpO2 reading, 0-100
 * 18  uint16 reserved    0
 *
 * Format version 2 (version 1 was 16 bytes, without SpO2).
 */
#define DATA_LOG_RECORD_LEN     20
#define DATA_LOG_FORMAT_VERSION 2

#define DATA_LOG_FLAG_UTC   BIT(0) /* time is UTC; otherwise seconds since boot */
#define DATA_LOG_FLAG_NIGHT BIT(1) /* the period was in Night Mode */
#define DATA_LOG_FLAG_STEPS BIT(2) /* steps is valid (the step counter worked) */

struct data_log_record {
	uint32_t seq;
	uint32_t time;
	uint16_t steps;
	uint16_t boot;
	uint8_t hr_avg;
	uint8_t hr_max;
	uint8_t tens_of_seconds;
	uint8_t flags;
	uint8_t spo2;
	uint8_t spo2_quality;
};

/*
 * Count this boot and find the records already in flash. Call after
 * storage_init(). Takes a few tens of milliseconds.
 *
 * Returns 0 on success, negative errno if there is no storage (then nothing is
 * logged and the log reads as empty).
 */
int data_log_init(void);

/*
 * Feed one second of data from the main loop. heart_rate 0 means no reading.
 * Closes the period, and queues its record for writing, when it is full or the
 * mode changed.
 */
void data_log_add_second(int heart_rate, bool steps_valid, uint32_t steps, bool night);

/*
 * Note an SpO2 reading; it goes into the record of the period in progress (the
 * latest one, if there are several). Main loop only.
 */
void data_log_note_spo2(uint8_t percent, uint8_t quality);

/* Write the period in progress now and wait for it. Before powering off. */
void data_log_flush(void);

/*
 * The records in flash: sequence numbers oldest up to, not including, next.
 * Equal means empty. Safe from any thread.
 */
void data_log_range(uint32_t *oldest, uint32_t *next);

/*
 * Read record seq. A record made earlier in this boot, before the app set the
 * time, is returned with UTC time once the time is known. Safe from any thread.
 *
 * Returns 0, -ENOENT if it is not in flash (overwritten or never written), or
 * another negative errno.
 */
int data_log_read(uint32_t seq, struct data_log_record *rec);

/* Encode a record into DATA_LOG_RECORD_LEN bytes, the layout above. */
void data_log_encode(const struct data_log_record *rec, uint8_t *out);

/* This boot's number, as stored in records. */
uint16_t data_log_boot(void);

#endif /* DATA_LOG_H */
```

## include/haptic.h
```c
#ifndef HAPTIC_H
#define HAPTIC_H

/*
 * Configure the motor output, off.
 *
 * Returns 0 on success, negative errno on failure.
 */
int haptic_init(void);

/*
 * Patterns run in the background and return immediately, so the caller keeps
 * draining the sensor FIFO. A new pattern replaces one still running. They do
 * nothing if haptic_init() failed.
 */

/* One buzz: confirms a button press. */
void haptic_buzz(void);

/* Two short firm pulses: the reminder to drink water. */
void haptic_double_tap(void);

/* Stop any pattern and leave the motor off. Waits for a running step to end. */
void haptic_stop(void);

#endif /* HAPTIC_H */
```

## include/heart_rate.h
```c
#ifndef HEART_RATE_H
#define HEART_RATE_H

#include <stdbool.h>
#include <stdint.h>

struct hr_estimate {
	/* Heart rate in bpm, or 0 when there is no reliable reading. */
	int bpm;
	/* Periodicity of the last 8 s, 0-100. Below 50 is rejected. */
	int quality;
	/* True when bpm is the last good value, held through a short bad stretch. */
	bool held;
	/* True when the signal is still decaying after placement; no new reading. */
	bool settling;
};

/* Seconds of samples before the first estimate (window plus filter settling). */
#define HR_FIRST_ESTIMATE_S 11

/* Reset the estimator. Call after any gap in the sample stream. */
void heart_rate_init(void);

/*
 * Set the measured sensor sample rate. The MAX30101 runs from its own
 * oscillator, which can be a few percent off the nominal HR_SAMPLE_RATE_HZ;
 * this is used to convert periods to bpm.
 */
void heart_rate_set_sample_rate(float hz);

/*
 * Feed one raw IR sample.
 *
 * Returns true once per second, starting HR_FIRST_ESTIMATE_S seconds after
 * heart_rate_init(), with a new estimate in *out.
 */
bool heart_rate_process(int32_t sample, struct hr_estimate *out);

#endif /* HEART_RATE_H */
```

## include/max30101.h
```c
#ifndef MAX30101_H
#define MAX30101_H

#include <stdbool.h>
#include <stdint.h>

/* Effective sample rate set by smp-sr and smp-ave in the devicetree. */
#define MAX30101_SAMPLE_RATE_HZ 100

/* The MAX30101 FIFO holds 32 samples. */
#define MAX30101_FIFO_DEPTH 32

/*
 * Initialize the MAX30101 sensor.
 *
 * Returns 0 on success, negative errno on failure.
 */
int max30101_init(void);

/* One FIFO sample: both LED slots, taken in the same 10 ms period. */
struct max30101_sample {
	int32_t ir;
	/* Ambient-cancelled level only; the red LED is off unless measuring SpO2. */
	int32_t red;
};

/*
 * Read every new sample from the sensor FIFO, oldest first.
 *
 * Only samples the sensor has actually produced are returned, so consecutive
 * samples are exactly 1/MAX30101_SAMPLE_RATE_HZ apart unless *lost is
 * non-zero. *lost is set when the FIFO overflowed since the previous call;
 * samples were dropped and the caller should treat the stream as broken.
 *
 * Returns the number of samples stored (0..max), or negative errno.
 */
int max30101_read_fifo(struct max30101_sample *samples, int max, bool *lost);

/*
 * Set the red LED current, 0.2 mA per step (0 = off). Only the SpO2
 * measurement lights it; heart rate uses IR.
 *
 * Returns 0 on success, negative errno on failure.
 */
int max30101_set_red_current(uint8_t pa);

/*
 * Write back the settings the driver configured at start-up, empty the FIFO and
 * restart sampling. For a sensor that reset on its own and stopped sampling.
 *
 * Returns 0 on success, -ENODATA if the settings could not be saved at start-up,
 * or another negative errno.
 */
int max30101_restore(void);

/*
 * Put the sensor in its shutdown mode before the band powers off. Works over
 * I2C even if the Zephyr driver did not start.
 *
 * Returns 0 on success, negative errno on failure.
 */
int max30101_shutdown(void);

#endif /* MAX30101_H */
```

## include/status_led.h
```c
#ifndef STATUS_LED_H
#define STATUS_LED_H

enum status_led_color {
	STATUS_LED_WHITE,
	STATUS_LED_GREEN,
	STATUS_LED_OFF,
};

/*
 * Show a solid color.
 *
 * Returns 0 on success, negative errno on failure.
 */
int status_led_set(enum status_led_color color);

#endif /* STATUS_LED_H */
```

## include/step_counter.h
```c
#ifndef STEP_COUNTER_H
#define STEP_COUNTER_H

#include <stdint.h>

/*
 * Start the BMI270 and its built-in step counter. Takes about 0.5 s at
 * 400 kHz I2C, mostly loading the chip's firmware (the waits between chunks
 * are fixed). The count starts at 0.
 *
 * Returns 0 on success, negative errno on failure.
 */
int step_counter_init(void);

/*
 * Read the steps counted since step_counter_init().
 *
 * Returns 0 on success, negative errno on failure.
 */
int step_counter_read(uint32_t *steps);

/*
 * The accelerometer's reset range is +-8 g, so one g is this many counts. The
 * firmware leaves the range at its reset value.
 */
#define STEP_COUNTER_ACCEL_PER_G 4096

/*
 * Read the latest acceleration on the three axes, in counts
 * (STEP_COUNTER_ACCEL_PER_G per g). Used to tell whether the wrist is still.
 *
 * Returns 0 on success, negative errno on failure.
 */
int step_counter_read_accel(int16_t xyz[3]);

/*
 * Turn the accelerometer off before the band powers off.
 *
 * Returns 0 on success, negative errno on failure.
 */
int step_counter_shutdown(void);

#endif /* STEP_COUNTER_H */
```
